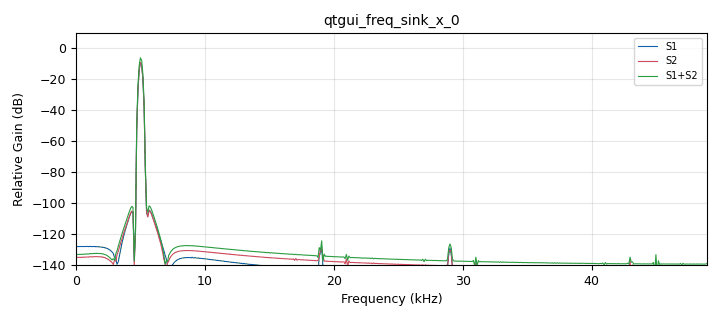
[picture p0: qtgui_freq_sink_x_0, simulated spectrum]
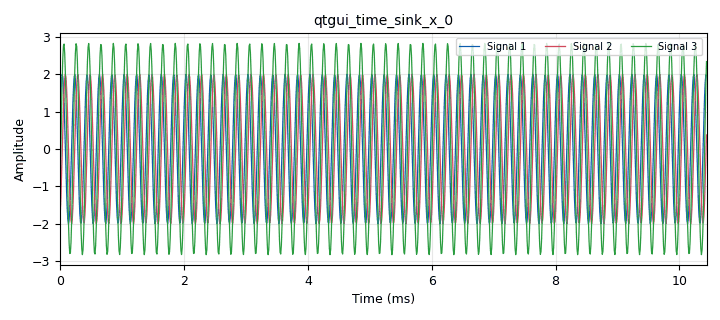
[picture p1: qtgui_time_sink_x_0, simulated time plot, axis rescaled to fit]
options:
  parameters:
    author: zoe
    generate_options: qt_gui
    id: lab2_1
    output_language: python
    title: Not titled yet
  states: {}

blocks:
- name: S1_AMP
  id: variable_qtgui_range
  parameters:
    start: '0'
    step: '1'
    stop: '10'
    value: '2'
  states: {}
- name: S1_FREQ
  id: variable_qtgui_range
  parameters:
    start: '0'
    step: '1000'
    stop: '20000'
    value: '5000'
  states: {}
- name: S2_AMP
  id: variable_qtgui_range
  parameters:
    start: '0'
    step: '1'
    stop: '10'
    value: '2'
  states: {}
- name: S2_FREQ
  id: variable_qtgui_range
  parameters:
    start: '0'
    step: '1000'
    stop: '20000'
    value: '5000'
  states: {}
- name: samp_rate
  id: variable
  parameters:
    value: '98000'
  states: {}
- name: analog_sig_source_x_0_0
  id: analog_sig_source_x
  parameters:
    amp: S2_AMP
    freq: S2_FREQ
    offset: '0'
    phase: '0'
    samp_rate: samp_rate
    type: float
    waveform: analog.GR_SIN_WAVE
  states: {}
- name: analog_sig_source_x_0_0_0
  id: analog_sig_source_x
  parameters:
    amp: S1_AMP
    freq: S1_FREQ
    offset: '0'
    phase: '0'
    samp_rate: samp_rate
    type: float
    waveform: analog.GR_COS_WAVE
  states: {}
- name: blocks_add_xx_0
  id: blocks_add_xx
  parameters:
    type: float
  states: {}
- name: blocks_throttle_0
  id: blocks_throttle
  parameters:
    samples_per_second: samp_rate
    type: float
  states: {}
- name: qtgui_freq_sink_x_0
  id: qtgui_freq_sink_x
  parameters:
    bw: samp_rate
    fc: '0'
    fftsize: '1024'
    freqhalf: 'False'
    label1: S1
    label2: S2
    label3: S1+S2
    nconnections: '3'
    type: float
  states: {}
- name: qtgui_time_sink_x_0
  id: qtgui_time_sink_x
  parameters:
    nconnections: '3'
    size: '1024'
    srate: samp_rate
    type: float
  states: {}

connections:
- [analog_sig_source_x_0_0, '0', blocks_add_xx_0, '1']
- [analog_sig_source_x_0_0, '0', blocks_throttle_0, '0']
- [analog_sig_source_x_0_0_0, '0', blocks_add_xx_0, '0']
- [analog_sig_source_x_0_0_0, '0', qtgui_freq_sink_x_0, '0']
- [analog_sig_source_x_0_0_0, '0', qtgui_time_sink_x_0, '0']
- [blocks_add_xx_0, '0', qtgui_freq_sink_x_0, '2']
- [blocks_add_xx_0, '0', qtgui_time_sink_x_0, '2']
- [blocks_throttle_0, '0', qtgui_freq_sink_x_0, '1']
- [blocks_throttle_0, '0', qtgui_time_sink_x_0, '1']

metadata:
  file_format: 1
  grc_version: 3.10.5.1
